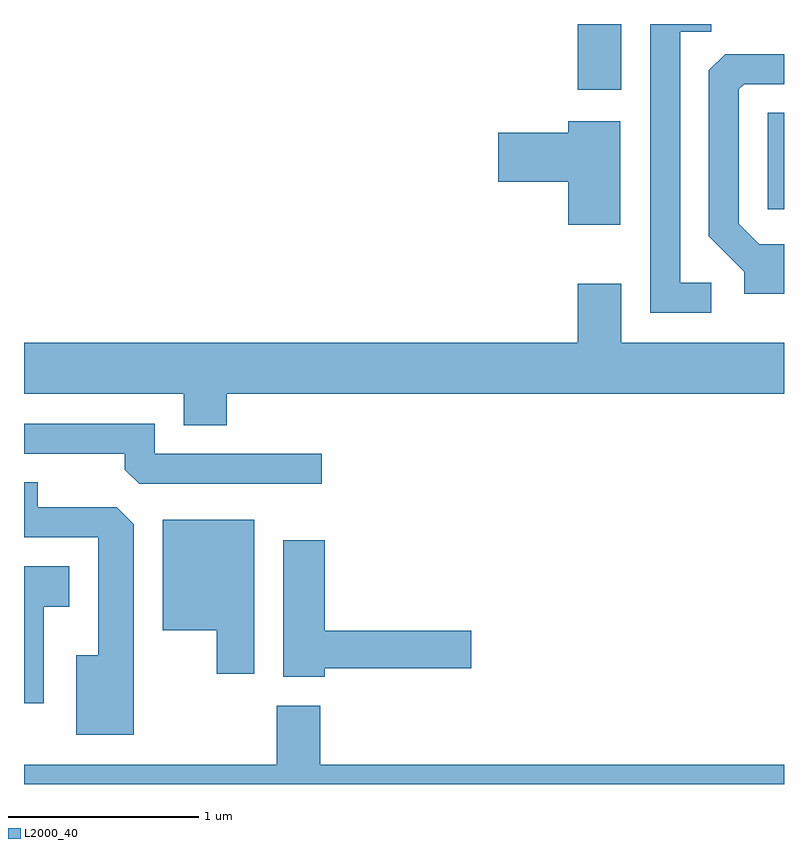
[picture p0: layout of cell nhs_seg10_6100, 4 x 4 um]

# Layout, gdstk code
import gdstk
lib = gdstk.Library(unit=1e-6, precision=1e-09)
def R(c, l, rs):  # rectangles x0, y0, x1, y1
    for r in rs: c.add(gdstk.rectangle(r[:2], r[2:], *l))
def P(c, l, *ps):  # polygons
    for p in ps: c.add(gdstk.Polygon(p, *l))
L2000_40 = (2000, 40)

nhs_seg10_6100 = lib.new_cell('nhs_seg10_6100')
R(nhs_seg10_6100, L2000_40, [(369.526,2121.548,369.611,2122.054), (368.526,2122.176,368.754,2122.522)])
P(nhs_seg10_6100, L2000_40, [(369.228,2121.159),(369.064,2121.159),(369.064,2122.481),(369.228,2122.481),(369.228,2122.522),(368.906,2122.522),(368.906,2121.001),(369.228,2121.001)],
  [(369.611,2121.364),(369.482,2121.364),(369.374,2121.472),(369.374,2122.179),(369.402,2122.206),(369.611,2122.206),(369.611,2122.364),(369.302,2122.364),(369.216,2122.279),(369.216,2121.404),(369.401,2121.219),(369.401,2121.101),(369.611,2121.101)],
  [(368.749,2122.009),(368.476,2122.009),(368.476,2121.949),(368.106,2121.949),(368.106,2121.691),(368.476,2121.691),(368.476,2121.466),(368.749,2121.466)],
  [(366.679,2120.576),(369.611,2120.576),(369.611,2120.844),(368.754,2120.844),(368.754,2121.154),(368.526,2121.154),(368.526,2120.844),(365.611,2120.844),(365.611,2120.576),(366.451,2120.576),(366.451,2120.411),(366.679,2120.411)],
  [(367.178,2120.259),(366.299,2120.259),(366.299,2120.419),(365.611,2120.419),(365.611,2120.261),(366.141,2120.261),(366.141,2120.177),(366.217,2120.101),(367.178,2120.101)],
  [(366.189,2119.889),(366.099,2119.979),(365.684,2119.979),(365.684,2120.109),(365.611,2120.109),(365.611,2119.821),(366.001,2119.821),(366.001,2119.199),(365.886,2119.199),(365.886,2118.781),(366.189,2118.781)],
  [(366.824,2119.914),(366.341,2119.914),(366.341,2119.331),(366.626,2119.331),(366.626,2119.101),(366.824,2119.101)],
  [(367.194,2119.131),(367.964,2119.131),(367.964,2119.329),(367.194,2119.329),(367.194,2119.804),(366.976,2119.804),(366.976,2119.086),(367.194,2119.086)],
  [(365.714,2119.456),(365.849,2119.456),(365.849,2119.669),(365.611,2119.669),(365.611,2118.946),(365.714,2118.946)],
  [(369.611,2118.624),(367.169,2118.624),(367.169,2118.934),(366.941,2118.934),(366.941,2118.624),(365.611,2118.624),(365.611,2118.522),(369.611,2118.522)])

lib.write_gds('nhs_seg10_6100.gds')
